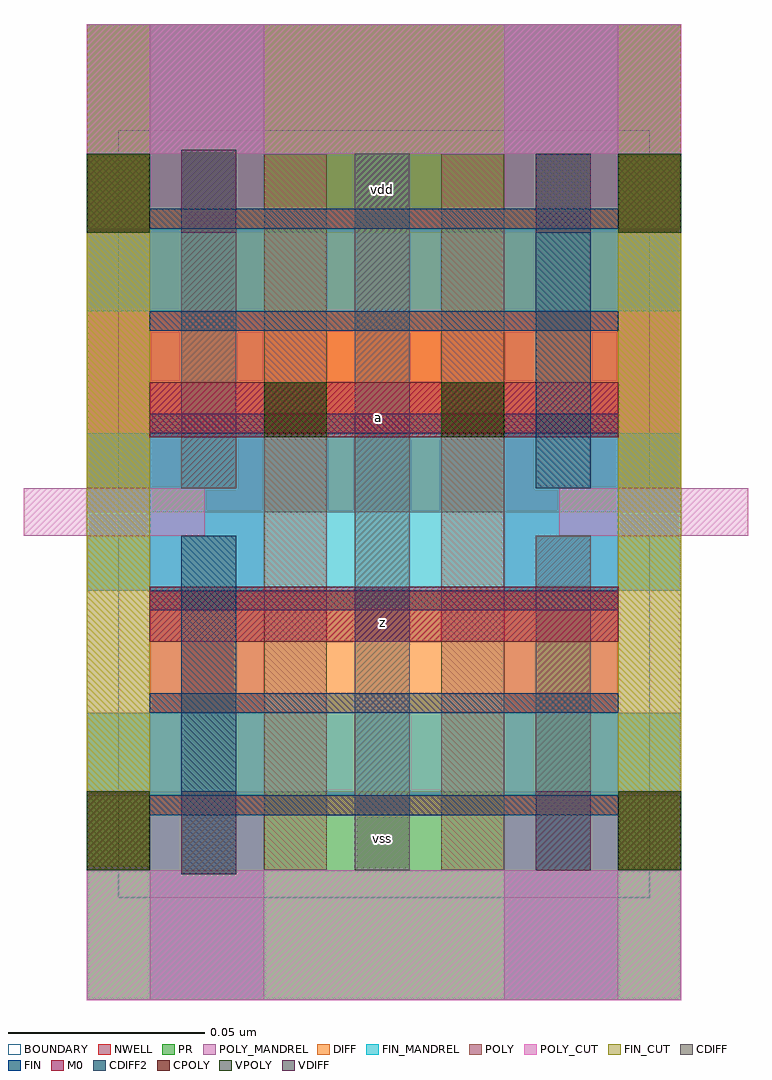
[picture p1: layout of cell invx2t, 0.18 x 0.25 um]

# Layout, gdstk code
import gdstk
lib = gdstk.Library(unit=1e-6, precision=1e-09)
def R(c, l, rs):  # rectangles x0, y0, x1, y1
    for r in rs: c.add(gdstk.rectangle(r[:2], r[2:], *l))
def A(c, l, x, y, w, h, nx, ny, dx, dy):  # array of equal rectangles
    R(c, l, [(x+i*dx, y+j*dy, x+i*dx+w, y+j*dy+h) for i in range(nx) for j in range(ny)])
BOUNDARY = (1, 0)
NWELL = (5, 1)
DIFF = (7, 7)
FIN = (7, 8)
FIN_MANDREL = (7, 10)
FIN_CUT = (7, 50)
POLY = (9, 7)
POLY_MANDREL = (9, 10)
POLY_CUT = (9, 50)
CPOLY = (9, 100)
VPOLY = (9, 135)
VDIFF = (10, 0)
CDIFF = (10, 1)
CDIFF2 = (10, 2)
M0 = (30, 0)
PR = (30, 1)

invx2t = lib.new_cell('invx2t')
R(invx2t, BOUNDARY, [(-0.008,-0.013,0.082,0.182), (-0.008,-0.013,0.127,0.182)])
R(invx2t, NWELL, [(-0.016,0.085,0.135,0.209)])
R(invx2t, DIFF, [(0,0.008,0.119,0.065), (0,0.105,0.119,0.162)])
A(invx2t, FIN, 0, 0.008, 0.119, 0.005, 1, 3, 0, 0.026)
A(invx2t, FIN, 0, 0.105, 0.119, 0.005, 1, 3, 0, 0.026)
R(invx2t, FIN_MANDREL, [(-0.016,0.013,0.135,0.034), (-0.016,0.065,0.135,0.105), (-0.016,0.136,0.135,0.157)])
R(invx2t, FIN_CUT, [(0.119,-0.006,0.135,0.176), (-0.016,-0.005,0,0.176)])
R(invx2t, POLY, [(-0.016,-0.006,0,0.079), (0.029,-0.006,0.045,0.176), (0.074,-0.006,0.09,0.176), (0.119,-0.006,0.135,0.079), (-0.016,0.091,0,0.176), (0.119,0.091,0.135,0.176)])
R(invx2t, POLY_MANDREL, [(0,-0.039,0.029,0.209), (0.09,-0.039,0.119,0.209)])
R(invx2t, POLY_CUT, [(-0.016,-0.039,0.135,-0.006), (-0.032,0.079,0.014,0.091), (0.104,0.079,0.152,0.091), (-0.016,0.176,0.135,0.209)])
R(invx2t, CPOLY, [(-0.016,-0.006,0,0.014), (0.119,-0.006,0.135,0.014), (0.029,0.104,0.045,0.118), (0.074,0.104,0.09,0.118), (-0.016,0.156,0,0.176), (0.119,0.156,0.135,0.176)])
R(invx2t, VPOLY, [(-0.016,-0.006,0,0.014), (0.119,-0.006,0.135,0.014), (0.029,0.104,0.045,0.118), (0.074,0.104,0.09,0.118), (-0.016,0.156,0,0.176), (0.119,0.156,0.135,0.176)])
R(invx2t, VDIFF, [(0.008,-0.007,0.022,0.014), (0.098,-0.006,0.112,0.014), (0.052,0.052,0.066,0.066), (0.008,0.156,0.022,0.177), (0.098,0.156,0.112,0.176)])
R(invx2t, CDIFF, [(0.052,-0.006,0.066,0.176), (0.098,-0.006,0.112,0.079), (0.008,0.091,0.022,0.177)])
R(invx2t, CDIFF2, [(0.008,-0.007,0.022,0.079), (0.098,0.091,0.112,0.176)])
R(invx2t, M0, [(0,0.052,0.119,0.066), (0,0.104,0.119,0.118)])
R(invx2t, PR, [(-0.016,-0.039,0.135,0.014), (-0.016,0.156,0.135,0.209)])
invx2t.add(gdstk.Label('vdd', (0.059,0.167), layer=30, texttype=2))
invx2t.add(gdstk.Label('vss', (0.059,0.002), layer=30, texttype=2))
invx2t.add(gdstk.Label('a', (0.058,0.109), layer=30, texttype=12))
invx2t.add(gdstk.Label('z', (0.059,0.057), layer=30, texttype=12))
invx2t.add(gdstk.Label('vdd', (0.059,0.167), layer=30, texttype=12))
invx2t.add(gdstk.Label('vss', (0.059,0.002), layer=30, texttype=12))

lib.write_gds('invx2t.gds')
